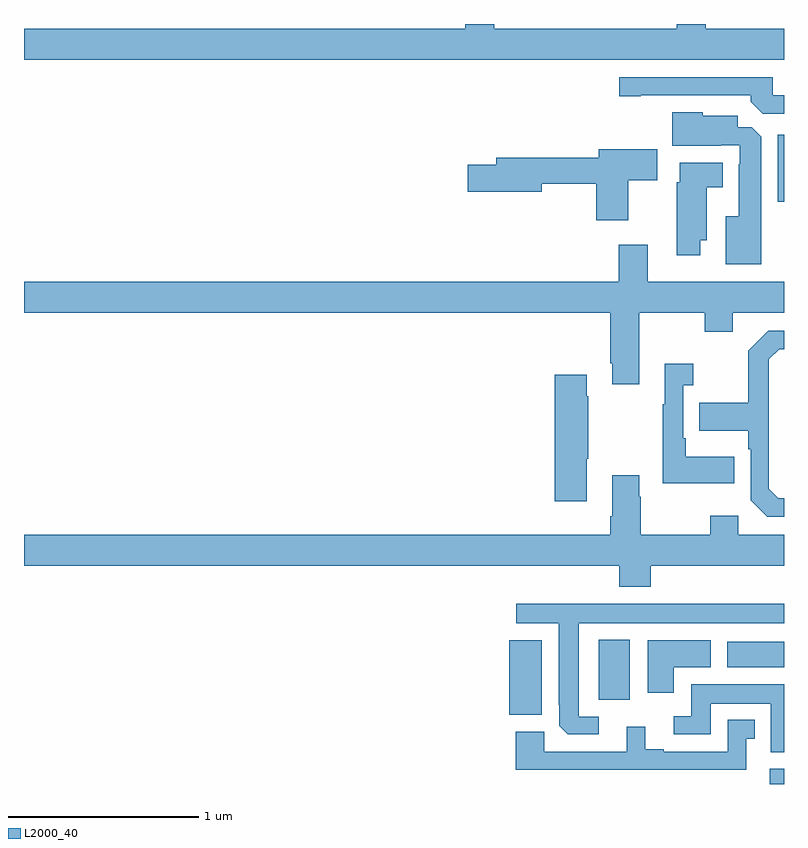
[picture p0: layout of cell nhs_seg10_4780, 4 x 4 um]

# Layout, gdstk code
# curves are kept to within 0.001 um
import gdstk
lib = gdstk.Library(unit=1e-6, precision=1e-09)
def R(c, l, rs):  # rectangles x0, y0, x1, y1
    for r in rs: c.add(gdstk.rectangle(r[:2], r[2:], *l))
def P(c, l, *ps):  # polygons
    for p in ps: c.add(gdstk.Polygon(p, *l))
L2000_40 = (2000, 40)

nhs_seg10_4780 = lib.new_cell('nhs_seg10_4780')
R(nhs_seg10_4780, L2000_40, [(388.925,1300.5,389,1300.579), (387.554,1300.865,387.724,1301.257), (388.025,1300.944,388.189,1301.26), (388.7,1301.114,389,1301.248), (388.967,1303.565,389,1303.918)])
P(nhs_seg10_4780, L2000_40, [(389,1304.476),(388.587,1304.476),(388.587,1304.5),(388.435,1304.5),(388.435,1304.476),(387.475,1304.476),(387.475,1304.5),(387.323,1304.5),(387.323,1304.476),(385,1304.476),(385,1304.312),(389,1304.312)],
  [(389,1304.124),(388.941,1304.124),(388.941,1304.22),(388.134,1304.22),(388.134,1304.119),(388.246,1304.119),(388.246,1304.124),(388.826,1304.124),(388.826,1304.09),(388.887,1304.028),(389,1304.028)],
  [(388.879,1303.907),(388.83,1303.956),(388.756,1303.956),(388.756,1304.017),(388.572,1304.017),(388.572,1304.035),(388.412,1304.035),(388.412,1303.859),(388.667,1303.859),(388.667,1303.863),(388.767,1303.863),(388.767,1303.763),(388.763,1303.763),(388.763,1303.489),(388.694,1303.489),(388.694,1303.235),(388.879,1303.235)],
  [(388.18,1303.678),(388.333,1303.678),(388.333,1303.84),(388.025,1303.84),(388.025,1303.796),(387.485,1303.796),(387.485,1303.76),(387.336,1303.76),(387.336,1303.618),(387.724,1303.618),(387.724,1303.66),(388.013,1303.66),(388.013,1303.467),(388.18,1303.467)],
  [(388.558,1303.361),(388.594,1303.361),(388.594,1303.64),(388.678,1303.64),(388.678,1303.771),(388.451,1303.771),(388.451,1303.668),(388.436,1303.668),(388.436,1303.284),(388.558,1303.284)],
  [(388.237,1302.98),(388.582,1302.98),(388.582,1302.881),(388.729,1302.881),(388.729,1302.98),(389,1302.98),(389,1303.144),(388.282,1303.144),(388.282,1303.339),(388.13,1303.339),(388.13,1303.144),(385,1303.144),(385,1302.98),(388.085,1302.98),(388.085,1302.715),(388.097,1302.715),(388.097,1302.603),(388.237,1302.603)],
  [(389,1302.003),(388.971,1302.003),(388.92,1302.054),(388.92,1302.735),(388.974,1302.789),(389,1302.789),(389,1302.885),(388.917,1302.885),(388.812,1302.779),(388.812,1302.507),(388.555,1302.507),(388.555,1302.359),(388.812,1302.359),(388.812,1302.263),(388.824,1302.263),(388.824,1301.994),(388.911,1301.907),(389,1301.907)],
  [(388.739,1302.223),(388.483,1302.223),(388.483,1302.319),(388.47,1302.319),(388.47,1302.599),(388.522,1302.599),(388.522,1302.712),(388.373,1302.712),(388.373,1302.499),(388.362,1302.499),(388.362,1302.083),(388.739,1302.083)],
  [(387.961,1302.211),(387.969,1302.211),(387.969,1302.542),(387.961,1302.542),(387.961,1302.655),(387.794,1302.655),(387.794,1301.988),(387.961,1301.988)],
  [(388.298,1301.648),(389,1301.648),(389,1301.812),(388.758,1301.812),(388.758,1301.911),(388.612,1301.911),(388.612,1301.812),(388.245,1301.812),(388.245,1302.011),(388.237,1302.011),(388.237,1302.124),(388.097,1302.124),(388.097,1301.908),(388.085,1301.908),(388.085,1301.812),(385,1301.812),(385,1301.648),(388.133,1301.648),(388.133,1301.537),(388.298,1301.537)],
  [(388.024,1300.854),(387.919,1300.854),(387.919,1301.345),(389,1301.345),(389,1301.449),(387.591,1301.449),(387.591,1301.345),(387.815,1301.345),(387.816,1300.807),(387.862,1300.761),(388.024,1300.761)],
  [(388.42,1301.114),(388.615,1301.114),(388.615,1301.257),(388.283,1301.257),(388.283,1300.98),(388.42,1300.98)],
  [(389,1301.026),(388.511,1301.026),(388.511,1300.857),(388.419,1300.857),(388.419,1300.761),(388.615,1300.761),(388.615,1300.922),(388.931,1300.922),(388.931,1300.667),(389,1300.667)],
  [(388.8,1300.737),(388.846,1300.737),(388.846,1300.837),(388.704,1300.837),(388.704,1300.671),(388.366,1300.671),(388.366,1300.684),(388.27,1300.684),(388.27,1300.801),(388.172,1300.801),(388.172,1300.671),(387.738,1300.671),(387.738,1300.774),(387.587,1300.774),(387.587,1300.575),(388.8,1300.575)])

lib.write_gds('nhs_seg10_4780.gds')
